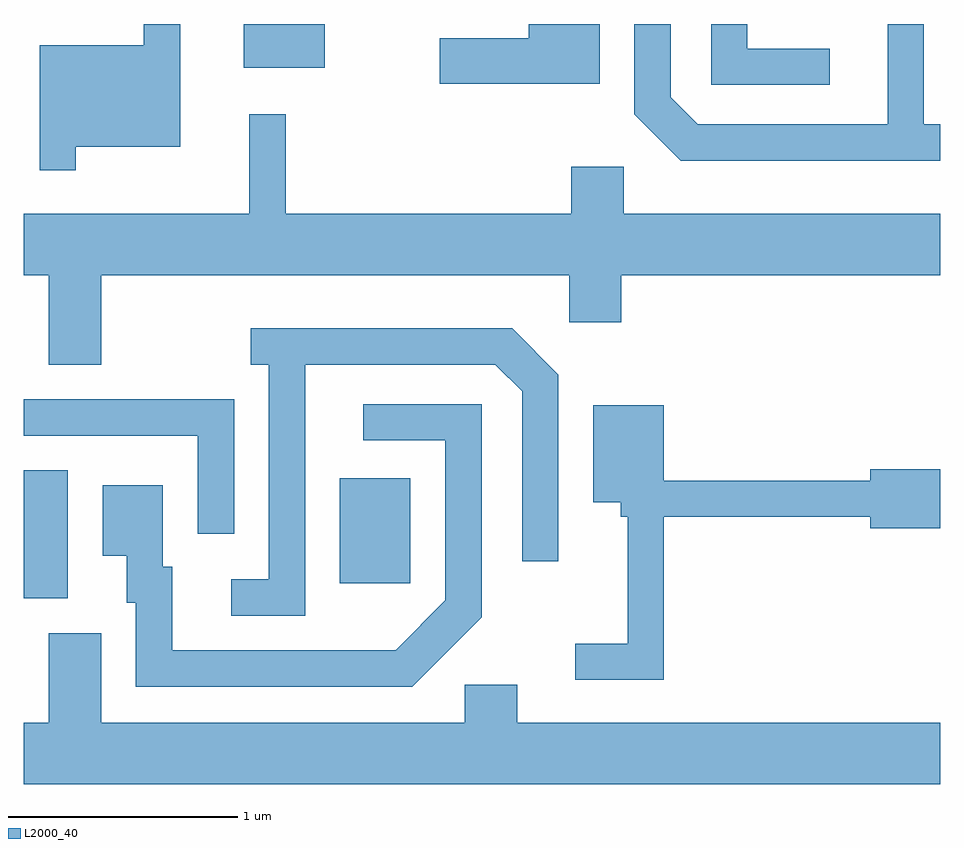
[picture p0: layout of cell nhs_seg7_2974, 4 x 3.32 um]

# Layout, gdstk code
import gdstk
lib = gdstk.Library(unit=1e-6, precision=1e-09)
def R(c, l, rs):  # rectangles x0, y0, x1, y1
    for r in rs: c.add(gdstk.rectangle(r[:2], r[2:], *l))
def P(c, l, *ps):  # polygons
    for p in ps: c.add(gdstk.Polygon(p, *l))
L2000_40 = (2000, 40)

nhs_seg7_2974 = lib.new_cell('nhs_seg7_2974')
R(nhs_seg7_2974, L2000_40, [(275.611,1761.746,275.804,1762.304), (276.991,1761.811,277.299,1762.269), (276.571,1764.061,276.924,1764.252)])
P(nhs_seg7_2974, L2000_40, [(279.128,1764.144),(278.769,1764.144),(278.769,1764.252),(278.611,1764.252),(278.611,1763.986),(279.128,1763.986)],
  [(275.839,1763.716),(276.294,1763.716),(276.294,1764.252),(276.136,1764.252),(276.136,1764.159),(275.681,1764.159),(275.681,1763.613),(275.839,1763.613)],
  [(279.611,1763.814),(279.539,1763.814),(279.539,1764.252),(279.381,1764.252),(279.381,1763.814),(278.552,1763.814),(278.434,1763.932),(278.434,1764.252),(278.276,1764.252),(278.276,1763.859),(278.479,1763.656),(279.611,1763.656)],
  [(278.124,1764.252),(277.816,1764.252),(277.816,1764.189),(277.426,1764.189),(277.426,1763.991),(278.124,1763.991)],
  [(276.754,1763.858),(276.596,1763.858),(276.596,1763.424),(275.611,1763.424),(275.611,1763.156),(275.721,1763.156),(275.721,1762.766),(275.949,1762.766),(275.949,1763.156),(277.991,1763.156),(277.991,1762.951),(278.219,1762.951),(278.219,1763.156),(279.611,1763.156),(279.611,1763.424),(278.229,1763.424),(278.229,1763.629),(278.001,1763.629),(278.001,1763.424),(276.754,1763.424)],
  [(276.839,1762.766),(277.669,1762.766),(277.786,1762.649),(277.786,1761.908),(277.944,1761.908),(277.944,1762.722),(277.742,1762.924),(276.603,1762.924),(276.603,1762.766),(276.681,1762.766),(276.681,1761.829),(276.518,1761.829),(276.518,1761.671),(276.839,1761.671)],
  [(276.529,1762.614),(275.611,1762.614),(275.611,1762.456),(276.371,1762.456),(276.371,1762.028),(276.529,1762.028)],
  [(277.609,1761.664),(277.609,1762.594),(277.093,1762.594),(277.093,1762.436),(277.451,1762.436),(277.451,1761.737),(277.234,1761.519),(276.259,1761.519),(276.259,1761.884),(276.219,1761.884),(276.219,1762.239),(275.956,1762.239),(275.956,1761.931),(276.061,1761.931),(276.061,1761.726),(276.101,1761.726),(276.101,1761.361),(277.307,1761.361)],
  [(278.404,1762.101),(279.306,1762.101),(279.306,1762.051),(279.611,1762.051),(279.611,1762.309),(279.306,1762.309),(279.306,1762.259),(278.404,1762.259),(278.404,1762.589),(278.096,1762.589),(278.096,1762.166),(278.216,1762.166),(278.216,1762.101),(278.246,1762.101),(278.246,1761.549),(278.018,1761.549),(278.018,1761.391),(278.404,1761.391)],
  [(279.611,1761.204),(277.764,1761.204),(277.764,1761.369),(277.536,1761.369),(277.536,1761.204),(275.949,1761.204),(275.949,1761.594),(275.721,1761.594),(275.721,1761.204),(275.611,1761.204),(275.611,1760.936),(279.611,1760.936)])

lib.write_gds('nhs_seg7_2974.gds')
